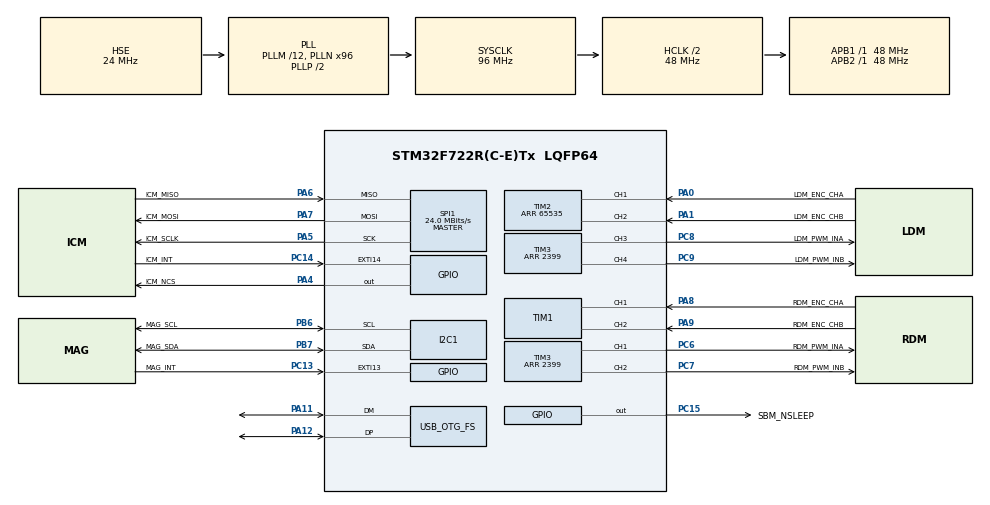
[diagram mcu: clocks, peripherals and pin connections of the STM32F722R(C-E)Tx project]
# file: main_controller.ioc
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FREERTOS.Queues01=EncoderQueue,16,EncoderSample_t,0,Dynamic,NULL,NULL;OdomQueue,16,Odometry_t,0,Dynamic,NULL,NULL;MotorCMDQueue,16,CmdVelPayload,0,Dynamic,NULL,NULL
FREERTOS.Tasks01=IMU_Handler,40,256,IMUTask,Default,NULL,Dynamic,NULL,NULL;Encoder_Handler,40,256,EncoderTask,Default,NULL,Dynamic,NULL,NULL;MainMotorDriver,40,256,MainMotorTask,Default,NULL,Dynamic,NULL,NULL;OdomHandler,47,256,OdomTask,Default,NULL,Dynamic,NULL,NULL;USBBridge,24,256,MCU_RPI_Bridge,Default,NULL,Dynamic,NULL,NULL
I2C1.Timing=0x20303E5D
Mcu.Family=STM32F7
Mcu.Name=STM32F722R(C-E)Tx
Mcu.Package=LQFP64
NVIC.OTG_FS_IRQn=true\:5\:0\:false\:false\:true\:true\:false\:true\:true
NVIC.PriorityGroup=NVIC_PRIORITYGROUP_4
NVIC.TIM6_DAC_IRQn=true\:15\:0\:false\:false\:true\:false\:false\:true\:true
NVIC.TimeBase=TIM6_DAC_IRQn
NVIC.TimeBaseIP=TIM6
PA0-WKUP.GPIO_Label=LDM_ENC_CHA
PA0-WKUP.Signal=S_TIM2_CH1_ETR
PA1.GPIO_Label=LDM_ENC_CHB
PA1.Signal=S_TIM2_CH2
PA11.Mode=Device_Only
PA11.Signal=USB_OTG_FS_DM
PA12.Mode=Device_Only
PA12.Signal=USB_OTG_FS_DP
PA13.Mode=Trace_Asynchronous_SW
PA13.Signal=SYS_JTMS-SWDIO
PA14.Mode=Trace_Asynchronous_SW
PA14.Signal=SYS_JTCK-SWCLK
PA4.GPIO_Label=ICM_NCS
PA4.PinState=GPIO_PIN_SET
PA4.Signal=GPIO_Output
PA5.GPIO_Label=ICM_SCLK
PA5.Mode=Full_Duplex_Master
PA5.Signal=SPI1_SCK
PA6.GPIO_Label=ICM_MISO
PA6.Mode=Full_Duplex_Master
PA6.Signal=SPI1_MISO
PA7.GPIO_Label=ICM_MOSI
PA7.Mode=Full_Duplex_Master
PA7.Signal=SPI1_MOSI
PA8.GPIO_Label=RDM_ENC_CHA
PA8.Signal=S_TIM1_CH1
PA9.GPIO_Label=RDM_ENC_CHB
PA9.Signal=S_TIM1_CH2
PB3.Mode=Trace_Asynchronous_SW
PB3.Signal=SYS_JTDO-SWO
PB6.GPIO_Label=MAG_SCL
PB6.Mode=I2C
PB6.Signal=I2C1_SCL
PB7.GPIO_Label=MAG_SDA
PB7.Mode=I2C
PB7.Signal=I2C1_SDA
PC13.GPIO_Label=MAG_INT
PC13.Signal=GPXTI13
PC14-OSC32_IN.GPIO_Label=ICM_INT
PC14-OSC32_IN.Signal=GPXTI14
PC15-OSC32_OUT.GPIO_Label=SBM_NSLEEP
PC15-OSC32_OUT.Signal=GPIO_Output
PC6.GPIO_Label=RDM_PWM_INA
PC6.Signal=S_TIM3_CH1
PC7.GPIO_Label=RDM_PWM_INB
PC7.Signal=S_TIM3_CH2
PC8.GPIO_Label=LDM_PWM_INA
PC8.Signal=S_TIM3_CH3
PC9.GPIO_Label=LDM_PWM_INB
PC9.Signal=S_TIM3_CH4
PH0-OSC_IN.Mode=HSE-External-Oscillator
PH0-OSC_IN.Signal=RCC_OSC_IN
PH1-OSC_OUT.Mode=HSE-External-Oscillator
PH1-OSC_OUT.Signal=RCC_OSC_OUT
ProjectManager.HeapSize=0x200
ProjectManager.StackSize=0x400
ProjectManager.TargetToolchain=CMake
RCC.AHBCLKDivider=RCC_SYSCLK_DIV2
RCC.AHBFreq_Value=48000000
RCC.APB1Freq_Value=48000000
RCC.APB1TimFreq_Value=48000000
RCC.APB2Freq_Value=48000000
RCC.APB2TimFreq_Value=48000000
RCC.CortexFreq_Value=48000000
RCC.HCLKFreq_Value=48000000
RCC.HSE_VALUE=24000000
RCC.HSI_VALUE=16000000
RCC.LSE_VALUE=32768
RCC.PLLM=12
RCC.PLLN=96
RCC.PLLQ=4
RCC.SYSCLKFreq_VALUE=96000000
RCC.SYSCLKSource=RCC_SYSCLKSOURCE_PLLCLK
RCC.USBFreq_Value=48000000
RCC.VCOOutputFreq_Value=192000000
SH.S_TIM1_CH1.0=TIM1_CH1,Encoder_Interface
SH.S_TIM1_CH2.0=TIM1_CH2,Encoder_Interface
SH.S_TIM2_CH1_ETR.0=TIM2_CH1,Encoder_Interface
SH.S_TIM2_CH2.0=TIM2_CH2,Encoder_Interface
SH.S_TIM3_CH1.0=TIM3_CH1,PWM Generation1 CH1
SH.S_TIM3_CH2.0=TIM3_CH2,PWM Generation2 CH2
SH.S_TIM3_CH3.0=TIM3_CH3,PWM Generation3 CH3
SH.S_TIM3_CH4.0=TIM3_CH4,PWM Generation4 CH4
SPI1.CalculateBaudRate=24.0 MBits/s
SPI1.DataSize=SPI_DATASIZE_8BIT
SPI1.Direction=SPI_DIRECTION_2LINES
SPI1.Mode=SPI_MODE_MASTER
SPI1.NSSPMode=SPI_NSS_PULSE_DISABLE
SPI1.VirtualType=VM_MASTER
TIM1.EncoderMode=TIM_ENCODERMODE_TI12
TIM2.EncoderMode=TIM_ENCODERMODE_TI12
TIM2.Period=65535
TIM3.Channel-PWM\ Generation1\ CH1=TIM_CHANNEL_1
TIM3.Channel-PWM\ Generation2\ CH2=TIM_CHANNEL_2
TIM3.Channel-PWM\ Generation3\ CH3=TIM_CHANNEL_3
TIM3.Channel-PWM\ Generation4\ CH4=TIM_CHANNEL_4
TIM3.Period=2399
USB_DEVICE.CLASS_NAME_FS=CDC
USB_DEVICE.VirtualMode-CDC_FS=Cdc
USB_DEVICE.VirtualModeFS=Cdc_FS
USB_OTG_FS.VirtualMode=Device_Only
VP_FREERTOS_VS_CMSIS_V2.Mode=CMSIS_V2
VP_SYS_VS_tim6.Mode=TIM6
VP_USB_DEVICE_VS_USB_DEVICE_CDC_FS.Mode=CDC_FS
board=custom

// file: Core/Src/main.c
/* USER CODE BEGIN Header */
/**
  ******************************************************************************
  * @file           : main.c
  * @brief          : Main program body
  ******************************************************************************
  * @attention
  *
  * Copyright (c) 2026 STMicroelectronics.
  * All rights reserved.
  *
  * This software is licensed under terms that can be found in the LICENSE file
  * in the root directory of this software component.
  * If no LICENSE file comes with this software, it is provided AS-IS.
  *
  ******************************************************************************
  */
/* USER CODE END Header */
#include "main.h"
#include "cmsis_os.h"
#include "usb_device.h"

/* USER CODE BEGIN Includes */
#include "ICM42688.h"
#include "usbd_cdc_if.h"
#include "encoders.h"
#include "DRV8251A.h"
#include "odometry.h"
#include "protocol.h"
#include "usb_bridge.h"
#include <stdio.h>
#include <string.h>

/* LIS2MDL is unpopulated/faulty on this board revision (I2C NACK, see PB6/PB7).
   Set to 1 once the IC is replaced and verified. */
#define LIS2MDL_ENABLED 0

/* Headless motor test: drives both wheels forward/backward on a fixed
   open-loop schedule with NO dependency on USB/cmd_vel from the Pi. Use it
   to check for a hardware/motor issue independent of the command path, and
   as the test rig for measuring left/right wheel calibration (see
   ENCODER_LEFT_SCALE / ENCODER_RIGHT_SCALE in encoders.h). Set to 0 for
   normal Pi-driven operation -- do not leave this on during SLAM runs. */
#define MOTOR_HEADLESS_TEST_ENABLED 0

#if LIS2MDL_ENABLED
#include "LIS2MDL.h"
#endif
/* USER CODE END Includes */

I2C_HandleTypeDef hi2c1;

SPI_HandleTypeDef hspi1;

TIM_HandleTypeDef htim1;
TIM_HandleTypeDef htim2;
TIM_HandleTypeDef htim3;

/* Definitions for IMU_Handler */
osThreadId_t IMU_HandlerHandle;
const osThreadAttr_t IMU_Handler_attributes = {
  .name = "IMU_Handler",
  .stack_size = 256 * 4,
  .priority = (osPriority_t) osPriorityHigh,
};
/* Definitions for Encoder_Handler */
osThreadId_t Encoder_HandlerHandle;
const osThreadAttr_t Encoder_Handler_attributes = {
  .name = "Encoder_Handler",
  .stack_size = 256 * 4,
  .priority = (osPriority_t) osPriorityHigh,
};
/* Definitions for MainMotorDriver */
osThreadId_t MainMotorDriverHandle;
const osThreadAttr_t MainMotorDriver_attributes = {
  .name = "MainMotorDriver",
  .stack_size = 256 * 4,
  .priority = (osPriority_t) osPriorityHigh,
};
/* Definitions for OdomHandler */
osThreadId_t OdomHandlerHandle;
const osThreadAttr_t OdomHandler_attributes = {
  .name = "OdomHandler",
  .stack_size = 256 * 4,
  .priority = (osPriority_t) osPriorityHigh7,
};
/* Definitions for USBBridge */
osThreadId_t USBBridgeHandle;
const osThreadAttr_t USBBridge_attributes = {
  .name = "USBBridge",
  .stack_size = 256 * 4,
  .priority = (osPriority_t) osPriorityNormal,
};
/* Definitions for EncoderQueue */
osMessageQueueId_t EncoderQueueHandle;
const osMessageQueueAttr_t EncoderQueue_attributes = {
  .name = "EncoderQueue"
};
/* Definitions for OdomQueue */
osMessageQueueId_t OdomQueueHandle;
const osMessageQueueAttr_t OdomQueue_attributes = {
  .name = "OdomQueue"
};
/* Definitions for MotorCMDQueue */
osMessageQueueId_t MotorCMDQueueHandle;
const osMessageQueueAttr_t MotorCMDQueue_attributes = {
  .name = "MotorCMDQueue"
};
/* USER CODE BEGIN PV */

/* IMU has no inter-task queue yet (magnetometer pending), so its readings are
   still mirrored here for STM32Cube Live Watch during bring-up. Encoder and
   odometry data now flow through FreeRTOS queues instead of shared globals. */
volatile float lw_imu_ax, lw_imu_ay, lw_imu_az;
volatile float lw_imu_gx, lw_imu_gy, lw_imu_gz;
volatile float lw_imu_temp;

/* Wheel calibration Live Watch variables. Use these to measure a left/right
   distance-per-tick mismatch: command equal PWM to both wheels (e.g. via
   MotorDriver_SetTwist(v, 0) or the headless test task) and compare
   lw_left_distance_cm vs lw_right_distance_cm over the same time window.
   A steady ratio difference is the ENCODER_LEFT_SCALE / ENCODER_RIGHT_SCALE
   correction to apply in encoders.h. Remove once wheel calibration is done
   and trusted. */
volatile int32_t lw_enc_left_count, lw_enc_right_count;
volatile float   lw_enc_left_distance_cm, lw_enc_right_distance_cm;
volatile float   lw_odom_theta;   /* mirrors Odometry_t.theta, rad */

/* USER CODE END PV */

void SystemClock_Config(void);
static void MX_GPIO_Init(void);
static void MX_I2C1_Init(void);
static void MX_SPI1_Init(void);
static void MX_TIM1_Init(void);
static void MX_TIM2_Init(void);
static void MX_TIM3_Init(void);
void IMUTask(void *argument);
void EncoderTask(void *argument);
void MainMotorTask(void *argument);
void OdomTask(void *argument);
void MCU_RPI_Bridge(void *argument);

int main(void)
{

  /* MCU Configuration--------------------------------------------------------*/

  /* Reset of all peripherals, Initializes the Flash interface and the Systick. */
  HAL_Init();

  /* Configure the system clock */
  SystemClock_Config();

  /* Initialize all configured peripherals */
  MX_GPIO_Init();
  MX_I2C1_Init();
  MX_SPI1_Init();
  MX_TIM1_Init();
  MX_TIM2_Init();
  MX_TIM3_Init();
  /* USER CODE BEGIN 2 */

  HAL_TIM_Encoder_Start(&htim1, TIM_CHANNEL_ALL);
  HAL_TIM_Encoder_Start(&htim2, TIM_CHANNEL_ALL);

  HAL_TIM_PWM_Start(&htim3, TIM_CHANNEL_1);
  HAL_TIM_PWM_Start(&htim3, TIM_CHANNEL_2);
  HAL_TIM_PWM_Start(&htim3, TIM_CHANNEL_3);
  HAL_TIM_PWM_Start(&htim3, TIM_CHANNEL_4);

  /* USER CODE END 2 */

  /* Init scheduler */
  osKernelInitialize();

  /* Create the queue(s) */
  /* creation of EncoderQueue */
  EncoderQueueHandle = osMessageQueueNew (16, sizeof(EncoderSample_t), &EncoderQueue_attributes);

  /* creation of OdomQueue */
  OdomQueueHandle = osMessageQueueNew (16, sizeof(Odometry_t), &OdomQueue_attributes);

  /* creation of MotorCMDQueue */
  MotorCMDQueueHandle = osMessageQueueNew (16, sizeof(CmdVelPayload), &MotorCMDQueue_attributes);

  /* USER CODE BEGIN RTOS_QUEUES */
  /* Guard against CubeMX regenerating the queues with the placeholder element
     type (uint16_t): if the .ioc queue types are lost, the element size no
     longer matches the structs we put/get and motor commands are silently
     corrupted. Fail loudly here instead. */
  configASSERT(EncoderQueueHandle  != NULL);
  configASSERT(OdomQueueHandle     != NULL);
  configASSERT(MotorCMDQueueHandle != NULL);
  configASSERT(osMessageQueueGetCapacity(MotorCMDQueueHandle) > 0U);
  configASSERT(osMessageQueueGetMsgSize(MotorCMDQueueHandle) == sizeof(CmdVelPayload));
  configASSERT(osMessageQueueGetMsgSize(EncoderQueueHandle)  == sizeof(EncoderSample_t));
  configASSERT(osMessageQueueGetMsgSize(OdomQueueHandle)     == sizeof(Odometry_t));
  /* USER CODE END RTOS_QUEUES */

  /* Create the thread(s) */
  /* creation of IMU_Handler */
  IMU_HandlerHandle = osThreadNew(IMUTask, NULL, &IMU_Handler_attributes);

  /* creation of Encoder_Handler */
  Encoder_HandlerHandle = osThreadNew(EncoderTask, NULL, &Encoder_Handler_attributes);

  /* creation of MainMotorDriver */
  MainMotorDriverHandle = osThreadNew(MainMotorTask, NULL, &MainMotorDriver_attributes);

  /* creation of OdomHandler */
  OdomHandlerHandle = osThreadNew(OdomTask, NULL, &OdomHandler_attributes);

  /* creation of USBBridge */
  USBBridgeHandle = osThreadNew(MCU_RPI_Bridge, NULL, &USBBridge_attributes);

  /* Start scheduler */
  osKernelStart();

  /* We should never get here as control is now taken by the scheduler */

  /* Infinite loop */
  while (1)
  {

  }
}

void SystemClock_Config(void)
{
  RCC_OscInitTypeDef RCC_OscInitStruct = {0};
  RCC_ClkInitTypeDef RCC_ClkInitStruct = {0};

  /** Configure the main internal regulator output voltage
  */
  __HAL_RCC_PWR_CLK_ENABLE();
  __HAL_PWR_VOLTAGESCALING_CONFIG(PWR_REGULATOR_VOLTAGE_SCALE3);

  /** Initializes the RCC Oscillators according to the specified parameters
  * in the RCC_OscInitTypeDef structure.
  */
  RCC_OscInitStruct.OscillatorType = RCC_OSCILLATORTYPE_HSE;
  RCC_OscInitStruct.HSEState = RCC_HSE_ON;
  RCC_OscInitStruct.PLL.PLLState = RCC_PLL_ON;
  RCC_OscInitStruct.PLL.PLLSource = RCC_PLLSOURCE_HSE;
  RCC_OscInitStruct.PLL.PLLM = 12;
  RCC_OscInitStruct.PLL.PLLN = 96;
  RCC_OscInitStruct.PLL.PLLP = RCC_PLLP_DIV2;
  RCC_OscInitStruct.PLL.PLLQ = 4;
  if (HAL_RCC_OscConfig(&RCC_OscInitStruct) != HAL_OK)
  {
    Error_Handler();
  }

  /** Activate the Over-Drive mode
  */
  if (HAL_PWREx_EnableOverDrive() != HAL_OK)
  {
    Error_Handler();
  }

  /** Initializes the CPU, AHB and APB buses clocks
  */
  RCC_ClkInitStruct.ClockType = RCC_CLOCKTYPE_HCLK|RCC_CLOCKTYPE_SYSCLK
                              |RCC_CLOCKTYPE_PCLK1|RCC_CLOCKTYPE_PCLK2;
  RCC_ClkInitStruct.SYSCLKSource = RCC_SYSCLKSOURCE_PLLCLK;
  RCC_ClkInitStruct.AHBCLKDivider = RCC_SYSCLK_DIV2;
  RCC_ClkInitStruct.APB1CLKDivider = RCC_HCLK_DIV1;
  RCC_ClkInitStruct.APB2CLKDivider = RCC_HCLK_DIV1;

  if (HAL_RCC_ClockConfig(&RCC_ClkInitStruct, FLASH_LATENCY_1) != HAL_OK)
  {
    Error_Handler();
  }
}

static void MX_I2C1_Init(void)
{

  hi2c1.Instance = I2C1;
  hi2c1.Init.Timing = 0x20303E5D;
  hi2c1.Init.OwnAddress1 = 0;
  hi2c1.Init.AddressingMode = I2C_ADDRESSINGMODE_7BIT;
  hi2c1.Init.DualAddressMode = I2C_DUALADDRESS_DISABLE;
  hi2c1.Init.OwnAddress2 = 0;
  hi2c1.Init.OwnAddress2Masks = I2C_OA2_NOMASK;
  hi2c1.Init.GeneralCallMode = I2C_GENERALCALL_DISABLE;
  hi2c1.Init.NoStretchMode = I2C_NOSTRETCH_DISABLE;
  if (HAL_I2C_Init(&hi2c1) != HAL_OK)
  {
    Error_Handler();
  }

  /** Configure Analogue filter
  */
  if (HAL_I2CEx_ConfigAnalogFilter(&hi2c1, I2C_ANALOGFILTER_ENABLE) != HAL_OK)
  {
    Error_Handler();
  }

  /** Configure Digital filter
  */
  if (HAL_I2CEx_ConfigDigitalFilter(&hi2c1, 0) != HAL_OK)
  {
    Error_Handler();
  }

}

static void MX_SPI1_Init(void)
{

  /* SPI1 parameter configuration*/
  hspi1.Instance = SPI1;
  hspi1.Init.Mode = SPI_MODE_MASTER;
  hspi1.Init.Direction = SPI_DIRECTION_2LINES;
  hspi1.Init.DataSize = SPI_DATASIZE_8BIT;
  hspi1.Init.CLKPolarity = SPI_POLARITY_LOW;
  hspi1.Init.CLKPhase = SPI_PHASE_1EDGE;
  hspi1.Init.NSS = SPI_NSS_SOFT;
  hspi1.Init.BaudRatePrescaler = SPI_BAUDRATEPRESCALER_2;
  hspi1.Init.FirstBit = SPI_FIRSTBIT_MSB;
  hspi1.Init.TIMode = SPI_TIMODE_DISABLE;
  hspi1.Init.CRCCalculation = SPI_CRCCALCULATION_DISABLE;
  hspi1.Init.CRCPolynomial = 7;
  hspi1.Init.CRCLength = SPI_CRC_LENGTH_DATASIZE;
  hspi1.Init.NSSPMode = SPI_NSS_PULSE_DISABLE;
  if (HAL_SPI_Init(&hspi1) != HAL_OK)
  {
    Error_Handler();
  }

}

static void MX_TIM1_Init(void)
{

  TIM_Encoder_InitTypeDef sConfig = {0};
  TIM_MasterConfigTypeDef sMasterConfig = {0};

  htim1.Instance = TIM1;
  htim1.Init.Prescaler = 0;
  htim1.Init.CounterMode = TIM_COUNTERMODE_UP;
  htim1.Init.Period = 65535;
  htim1.Init.ClockDivision = TIM_CLOCKDIVISION_DIV1;
  htim1.Init.RepetitionCounter = 0;
  htim1.Init.AutoReloadPreload = TIM_AUTORELOAD_PRELOAD_DISABLE;
  sConfig.EncoderMode = TIM_ENCODERMODE_TI12;
  sConfig.IC1Polarity = TIM_ICPOLARITY_RISING;
  sConfig.IC1Selection = TIM_ICSELECTION_DIRECTTI;
  sConfig.IC1Prescaler = TIM_ICPSC_DIV1;
  sConfig.IC1Filter = 0;
  sConfig.IC2Polarity = TIM_ICPOLARITY_RISING;
  sConfig.IC2Selection = TIM_ICSELECTION_DIRECTTI;
  sConfig.IC2Prescaler = TIM_ICPSC_DIV1;
  sConfig.IC2Filter = 0;
  if (HAL_TIM_Encoder_Init(&htim1, &sConfig) != HAL_OK)
  {
    Error_Handler();
  }
  sMasterConfig.MasterOutputTrigger = TIM_TRGO_RESET;
  sMasterConfig.MasterOutputTrigger2 = TIM_TRGO2_RESET;
  sMasterConfig.MasterSlaveMode = TIM_MASTERSLAVEMODE_DISABLE;
  if (HAL_TIMEx_MasterConfigSynchronization(&htim1, &sMasterConfig) != HAL_OK)
  {
    Error_Handler();
  }

}

static void MX_TIM2_Init(void)
{

  TIM_Encoder_InitTypeDef sConfig = {0};
  TIM_MasterConfigTypeDef sMasterConfig = {0};

  htim2.Instance = TIM2;
  htim2.Init.Prescaler = 0;
  htim2.Init.CounterMode = TIM_COUNTERMODE_UP;
  htim2.Init.Period = 65535;
  htim2.Init.ClockDivision = TIM_CLOCKDIVISION_DIV1;
  htim2.Init.AutoReloadPreload = TIM_AUTORELOAD_PRELOAD_DISABLE;
  sConfig.EncoderMode = TIM_ENCODERMODE_TI12;
  sConfig.IC1Polarity = TIM_ICPOLARITY_RISING;
  sConfig.IC1Selection = TIM_ICSELECTION_DIRECTTI;
  sConfig.IC1Prescaler = TIM_ICPSC_DIV1;
  sConfig.IC1Filter = 0;
  sConfig.IC2Polarity = TIM_ICPOLARITY_RISING;
  sConfig.IC2Selection = TIM_ICSELECTION_DIRECTTI;
  sConfig.IC2Prescaler = TIM_ICPSC_DIV1;
  sConfig.IC2Filter = 0;
  if (HAL_TIM_Encoder_Init(&htim2, &sConfig) != HAL_OK)
  {
    Error_Handler();
  }
  sMasterConfig.MasterOutputTrigger = TIM_TRGO_RESET;
  sMasterConfig.MasterSlaveMode = TIM_MASTERSLAVEMODE_DISABLE;
  if (HAL_TIMEx_MasterConfigSynchronization(&htim2, &sMasterConfig) != HAL_OK)
  {
    Error_Handler();
  }

}

static void MX_TIM3_Init(void)
{

  TIM_MasterConfigTypeDef sMasterConfig = {0};
  TIM_OC_InitTypeDef sConfigOC = {0};

  htim3.Instance = TIM3;
  htim3.Init.Prescaler = 0;
  htim3.Init.CounterMode = TIM_COUNTERMODE_UP;
  htim3.Init.Period = 2399;
  htim3.Init.ClockDivision = TIM_CLOCKDIVISION_DIV1;
  htim3.Init.AutoReloadPreload = TIM_AUTORELOAD_PRELOAD_DISABLE;
  if (HAL_TIM_PWM_Init(&htim3) != HAL_OK)
  {
    Error_Handler();
  }
  sMasterConfig.MasterOutputTrigger = TIM_TRGO_RESET;
  sMasterConfig.MasterSlaveMode = TIM_MASTERSLAVEMODE_DISABLE;
  if (HAL_TIMEx_MasterConfigSynchronization(&htim3, &sMasterConfig) != HAL_OK)
  {
    Error_Handler();
  }
  sConfigOC.OCMode = TIM_OCMODE_PWM1;
  sConfigOC.Pulse = 0;
  sConfigOC.OCPolarity = TIM_OCPOLARITY_HIGH;
  sConfigOC.OCFastMode = TIM_OCFAST_DISABLE;
  if (HAL_TIM_PWM_ConfigChannel(&htim3, &sConfigOC, TIM_CHANNEL_1) != HAL_OK)
  {
    Error_Handler();
  }
  if (HAL_TIM_PWM_ConfigChannel(&htim3, &sConfigOC, TIM_CHANNEL_2) != HAL_OK)
  {
    Error_Handler();
  }
  if (HAL_TIM_PWM_ConfigChannel(&htim3, &sConfigOC, TIM_CHANNEL_3) != HAL_OK)
  {
    Error_Handler();
  }
  if (HAL_TIM_PWM_ConfigChannel(&htim3, &sConfigOC, TIM_CHANNEL_4) != HAL_OK)
  {
    Error_Handler();
  }
  HAL_TIM_MspPostInit(&htim3);

}

static void MX_GPIO_Init(void)
{
  GPIO_InitTypeDef GPIO_InitStruct = {0};

  /* GPIO Ports Clock Enable */
  __HAL_RCC_GPIOC_CLK_ENABLE();
  __HAL_RCC_GPIOH_CLK_ENABLE();
  __HAL_RCC_GPIOA_CLK_ENABLE();
  __HAL_RCC_GPIOB_CLK_ENABLE();

  /*Configure GPIO pin Output Level */
  HAL_GPIO_WritePin(SBM_NSLEEP_GPIO_Port, SBM_NSLEEP_Pin, GPIO_PIN_RESET);

  /*Configure GPIO pin Output Level */
  HAL_GPIO_WritePin(ICM_NCS_GPIO_Port, ICM_NCS_Pin, GPIO_PIN_SET);

  /*Configure GPIO pins : MAG_INT_Pin ICM_INT_Pin */
  GPIO_InitStruct.Pin = MAG_INT_Pin|ICM_INT_Pin;
  GPIO_InitStruct.Mode = GPIO_MODE_IT_RISING;
  GPIO_InitStruct.Pull = GPIO_NOPULL;
  HAL_GPIO_Init(GPIOC, &GPIO_InitStruct);

  /*Configure GPIO pin : SBM_NSLEEP_Pin */
  GPIO_InitStruct.Pin = SBM_NSLEEP_Pin;
  GPIO_InitStruct.Mode = GPIO_MODE_OUTPUT_PP;
  GPIO_InitStruct.Pull = GPIO_NOPULL;
  GPIO_InitStruct.Speed = GPIO_SPEED_FREQ_LOW;
  HAL_GPIO_Init(SBM_NSLEEP_GPIO_Port, &GPIO_InitStruct);

  /*Configure GPIO pin : ICM_NCS_Pin */
  GPIO_InitStruct.Pin = ICM_NCS_Pin;
  GPIO_InitStruct.Mode = GPIO_MODE_OUTPUT_PP;
  GPIO_InitStruct.Pull = GPIO_NOPULL;
  GPIO_InitStruct.Speed = GPIO_SPEED_FREQ_LOW;
  HAL_GPIO_Init(ICM_NCS_GPIO_Port, &GPIO_InitStruct);

}

void IMUTask(void *argument)
{
  /* init code for USB_DEVICE */
  MX_USB_DEVICE_Init();
  /* USER CODE BEGIN 5 */

  int icm_ok = (ICM42688_Init() == ICM_OK);

#if LIS2MDL_ENABLED
  int mag_ok = (LIS2MDL_Init() == MAG_OK);
  LIS2MDL_t mag_data = {0};
#endif

  ICM42688_t icm_data = {0};

  /* Infinite loop */
  for(;;)
  {
    if (icm_ok && ICM42688_ReadData(&icm_data) == ICM_OK)
    {
      /* USER CODE BEGIN Live Watch: IMU */
      lw_imu_ax = icm_data.ax;
      lw_imu_ay = icm_data.ay;
      lw_imu_az = icm_data.az;
      lw_imu_gx = icm_data.gx;
      lw_imu_gy = icm_data.gy;
      lw_imu_gz = icm_data.gz;
      lw_imu_temp = icm_data.temperature;
      /* USER CODE END Live Watch: IMU */
    }

#if LIS2MDL_ENABLED
    if (mag_ok && LIS2MDL_ReadData(&mag_data) == MAG_OK)
    {
      /* TODO: expose mag_data via Live Watch once magnetometer is enabled */
    }
#endif

    osDelay(100);
  }
  /* USER CODE END 5 */
}

void EncoderTask(void *argument)
{
  /* USER CODE BEGIN EncoderTask */
  Encoders_Init();

  const uint32_t ENC_PERIOD_MS = 10;   /* 100 Hz */
  uint32_t last_wake = osKernelGetTickCount();

  /* Infinite loop */
  for(;;)
  {
    Encoders_Update();

    /* Live Watch: raw counts + calibrated cm distance per wheel, for
       measuring a left/right calibration mismatch (see encoders.h). */
    lw_enc_left_count  = Encoder_getLeftCount();
    lw_enc_right_count = Encoder_getRightCount();
    lw_enc_left_distance_cm  = Encoder_getLeftDistance();
    lw_enc_right_distance_cm = Encoder_getRightDistance();

    /* Publish cumulative wheel travel (cm -> m) to the odometry task.
       Overwrite the oldest sample if the queue is somehow full so we never
       block the encoder loop. */
    EncoderSample_t sample = {
      .left_m  = Encoder_getLeftDistance()  / 100.0f,
      .right_m = Encoder_getRightDistance() / 100.0f,
    };
    if (osMessageQueuePut(EncoderQueueHandle, &sample, 0U, 0U) == osErrorResource)
    {
      EncoderSample_t drop;
      (void)osMessageQueueGet(EncoderQueueHandle, &drop, NULL, 0U);
      (void)osMessageQueuePut(EncoderQueueHandle, &sample, 0U, 0U);
    }

    last_wake += ENC_PERIOD_MS;
    osDelayUntil(last_wake);
  }
  /* USER CODE END EncoderTask */
}

void MainMotorTask(void *argument)
{
  /* USER CODE BEGIN MainMotorTask */
  MotorDriver_Enable();

#if MOTOR_HEADLESS_TEST_ENABLED
  /*
   * Headless forward/backward test -- drives both wheels open-loop with no
   * USB/Pi dependency at all, to isolate hardware/motor issues from the
   * cmd_vel command path. Also doubles as the wheel-calibration test rig:
   * both wheels get the *exact same* commanded speed (v, omega=0), so any
   * left/right difference in lw_enc_left_distance_cm vs
   * lw_enc_right_distance_cm measured over one FORWARD_MS window is a real
   * physical/encoder mismatch you can fold into ENCODER_LEFT_SCALE /
   * ENCODER_RIGHT_SCALE (encoders.h).
   *
   * Enable by setting MOTOR_HEADLESS_TEST_ENABLED to 1 below. Disable (0)
   * for normal cmd_vel-driven operation -- do not leave this on when
   * running with the Pi/SLAM.
   */
  const float    TEST_SPEED_MPS = 0.35f;
  const uint32_t FORWARD_MS     = 3000;
  const uint32_t PAUSE_MS       = 1000;
  const uint32_t BACKWARD_MS    = 3000;

  for(;;)
  {
    MotorDriver_SetTwist(+TEST_SPEED_MPS, 0.0f);
    osDelay(FORWARD_MS);

    MotorDriver_SetTwist(0.0f, 0.0f);
    osDelay(PAUSE_MS);

    MotorDriver_SetTwist(-TEST_SPEED_MPS, 0.0f);
    osDelay(BACKWARD_MS);

    MotorDriver_SetTwist(0.0f, 0.0f);
    osDelay(PAUSE_MS);
  }
#else
  /* Consume body-twist commands (cmd_vel) from the USB bridge and drive the
     motors open-loop. If no command arrives within CMD_TIMEOUT_MS the base is
     stopped as a safety measure (lost link / idle Pi). */
  const uint32_t CMD_TIMEOUT_MS = 500;

  CmdVelPayload cmd = { .v = 0.0f, .omega = 0.0f };

  /* Infinite loop */
  for(;;)
  {
    if (osMessageQueueGet(MotorCMDQueueHandle, &cmd, NULL, CMD_TIMEOUT_MS) == osOK)
    {
      MotorDriver_SetTwist(cmd.v, cmd.omega);
    }
    else
    {
      /* Timed out waiting for a command -> stop. */
      MotorDriver_SetTwist(0.0f, 0.0f);
    }
  }
#endif /* MOTOR_HEADLESS_TEST_ENABLED */
  /* USER CODE END MainMotorTask */
}

void OdomTask(void *argument)
{
  /* USER CODE BEGIN OdomTask */
  const float TICK_S = 1.0f / (float)osKernelGetTickFreq();

  /* Wait for the first encoder sample to seed the previous-distance state. */
  EncoderSample_t sample;
  osMessageQueueGet(EncoderQueueHandle, &sample, NULL, osWaitForever);
  Odometry_Init(sample.left_m, sample.right_m);

  uint32_t last_tick = osKernelGetTickCount();

  /* Infinite loop */
  for(;;)
  {
    /* Block until the encoder task publishes a fresh sample. */
    if (osMessageQueueGet(EncoderQueueHandle, &sample, NULL, osWaitForever) != osOK)
      continue;

    uint32_t now = osKernelGetTickCount();
    float dt_s = (float)(now - last_tick) * TICK_S;
    last_tick = now;

    Odometry_Update(sample.left_m, sample.right_m, dt_s);

    /* Publish the latest pose/twist to the USB bridge. Keep only the newest:
       drop the stale sample if the consumer fell behind. */
    const Odometry_t *o = Odometry_Get();
    lw_odom_theta = o->theta;   /* Live Watch: watch for drift during a straight-line run */
    if (osMessageQueuePut(OdomQueueHandle, o, 0U, 0U) == osErrorResource)
    {
      Odometry_t drop;
      (void)osMessageQueueGet(OdomQueueHandle, &drop, NULL, 0U);
      (void)osMessageQueuePut(OdomQueueHandle, o, 0U, 0U);
    }
  }
  /* USER CODE END OdomTask */
}

void MCU_RPI_Bridge(void *argument)
{
  /* USER CODE BEGIN MCU_RPI_Bridge */
  ProtocolParser parser;
  Protocol_ParserInit(&parser);

  /* Infinite loop */
  for(;;)
  {
    /* --- TX: forward the latest odometry to the Pi (non-blocking). --- */
    Odometry_t odom;
    if (osMessageQueueGet(OdomQueueHandle, &odom, NULL, 0U) == osOK)
    {
      OdometryPayload op = {
        .x     = odom.x,
        .y     = odom.y,
        .theta = odom.theta,
        .v     = odom.v,
        .omega = odom.omega,
      };
      USBBridge_SendFrame(MSG_ODOMETRY, &op, sizeof(op));
    }

    /* --- RX: parse any bytes received from the Pi. --- */
    uint8_t byte;
    while (USBBridge_RxPop(&byte))
    {
      uint8_t type;
      uint8_t payload[PROTOCOL_MAX_PAYLOAD];
      uint8_t len;

      if (Protocol_ParseByte(&parser, byte, &type, payload, sizeof(payload), &len))
      {
        if (type == MSG_CMD_VEL && len == sizeof(CmdVelPayload))
        {
          CmdVelPayload cmd;
          memcpy(&cmd, payload, sizeof(cmd));

          /* Deliver the newest command; drop a stale one if the motor task
             hasn't consumed it yet. */
          if (osMessageQueuePut(MotorCMDQueueHandle, &cmd, 0U, 0U) == osErrorResource)
          {
            CmdVelPayload drop;
            (void)osMessageQueueGet(MotorCMDQueueHandle, &drop, NULL, 0U);
            (void)osMessageQueuePut(MotorCMDQueueHandle, &cmd, 0U, 0U);
          }
        }
      }
    }

    /* ~1 kHz service rate: fast enough to keep RX latency low while yielding. */
    osDelay(1);
  }
  /* USER CODE END MCU_RPI_Bridge */
}

void HAL_TIM_PeriodElapsedCallback(TIM_HandleTypeDef *htim)
{
  if (htim->Instance == TIM6)
  {
    HAL_IncTick();
  }
}

void Error_Handler(void)
{
  __disable_irq();
  while (1)
  {
  }
}
